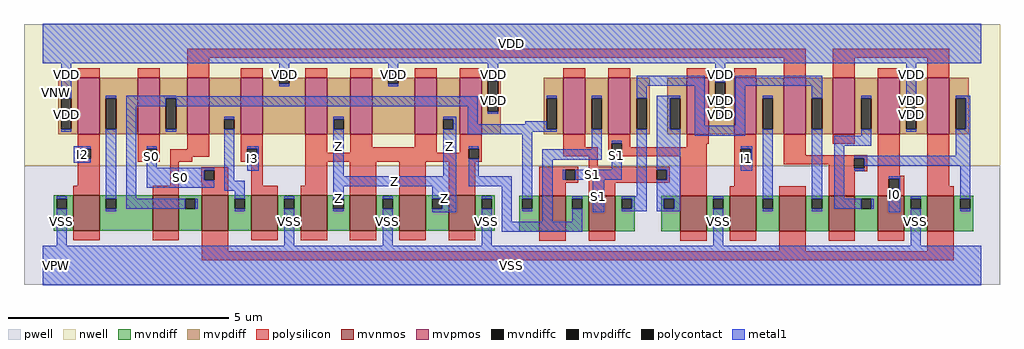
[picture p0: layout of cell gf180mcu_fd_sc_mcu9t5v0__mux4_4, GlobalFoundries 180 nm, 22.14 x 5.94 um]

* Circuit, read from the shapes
.subckt gf180mcu_fd_sc_mcu9t5v0__mux4_4 I0 I1 I2 I3 S0 S1 Z VDD VNW VPW VSS
XM1 n1 I2 VSS VPW nfet_06v0 w=0.8u l=0.6u
XM2 n2 n3 n1 VPW nfet_06v0 w=0.8u l=0.6u
XM3 n4 S0 n2 VPW nfet_06v0 w=0.8u l=0.6u
XM4 VSS I3 n4 VPW nfet_06v0 w=0.8u l=0.6u
XM5 Z n5 VSS VPW nfet_06v0 w=0.8u l=0.6u m=4
XM6 n5 S1 n2 VPW nfet_06v0 w=0.8u l=0.6u
XM7 n6 n7 n5 VPW nfet_06v0 w=0.8u l=0.6u
XM8 VSS S1 n7 VPW nfet_06v0 w=0.8u l=0.6u
XM9 n8 I1 VSS VPW nfet_06v0 w=0.8u l=0.6u
XM10 n6 S0 n8 VPW nfet_06v0 w=0.8u l=0.6u
XM11 n9 n3 n6 VPW nfet_06v0 w=0.8u l=0.6u
XM12 VSS I0 n9 VPW nfet_06v0 w=0.8u l=0.6u
XM13 n3 S0 VSS VPW nfet_06v0 w=0.8u l=0.6u
XM14 n1 I2 VDD VNW pfet_06v0 w=1.28u l=0.5u
XM15 n2 S0 n1 VNW pfet_06v0 w=1.28u l=0.5u
XM16 n4 n3 n2 VNW pfet_06v0 w=1.28u l=0.5u
XM17 VDD I3 n4 VNW pfet_06v0 w=1.28u l=0.5u
XM18 Z n5 VDD VNW pfet_06v0 w=1.28u l=0.5u m=4
XM19 n5 n7 n2 VNW pfet_06v0 w=1.28u l=0.5u
XM20 n6 S1 n5 VNW pfet_06v0 w=1.28u l=0.5u
XM21 VDD S1 n7 VNW pfet_06v0 w=1.28u l=0.5u
XM22 n8 I1 VDD VNW pfet_06v0 w=1.28u l=0.5u
XM23 n6 n3 n8 VNW pfet_06v0 w=1.28u l=0.5u
XM24 n9 S0 n6 VNW pfet_06v0 w=1.28u l=0.5u
XM25 VDD I0 n9 VNW pfet_06v0 w=1.28u l=0.5u
XM26 n3 S0 VDD VNW pfet_06v0 w=1.28u l=0.5u
.ends

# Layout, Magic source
magic
tech gf180mcuD
magscale 1 10
<< nwell >>
rect -86 453 4342 1094
<< pwell >>
rect -86 -86 4342 453
<< mvnmos >>
rect 137 159 257 319
rect 497 159 617 319
rect 721 159 841 319
rect 945 159 1065 319
rect 1169 159 1289 319
rect 1393 159 1513 319
rect 1617 159 1737 319
rect 1841 159 1961 319
rect 2252 156 2372 316
rect 2476 156 2596 316
rect 2892 156 3012 316
rect 3116 156 3236 316
rect 3340 156 3460 316
rect 3564 156 3684 316
rect 3788 156 3908 316
rect 4012 156 4132 316
<< mvpmos >>
rect 157 596 257 852
rect 429 596 529 852
rect 655 596 755 852
rect 898 596 998 852
rect 1190 596 1290 852
rect 1394 596 1494 852
rect 1686 596 1786 852
rect 1890 596 1990 852
rect 2360 596 2460 852
rect 2564 596 2664 852
rect 2920 596 3020 852
rect 3136 596 3236 852
rect 3360 596 3460 852
rect 3584 596 3684 852
rect 3788 596 3888 852
rect 4012 596 4112 852
<< mvndiff >>
rect 49 303 137 319
rect 49 257 62 303
rect 108 257 137 303
rect 49 159 137 257
rect 257 303 497 319
rect 257 257 286 303
rect 332 257 497 303
rect 257 159 497 257
rect 617 303 721 319
rect 617 257 646 303
rect 692 257 721 303
rect 617 159 721 257
rect 841 303 945 319
rect 841 257 870 303
rect 916 257 945 303
rect 841 159 945 257
rect 1065 303 1169 319
rect 1065 257 1094 303
rect 1140 257 1169 303
rect 1065 159 1169 257
rect 1289 303 1393 319
rect 1289 257 1318 303
rect 1364 257 1393 303
rect 1289 159 1393 257
rect 1513 303 1617 319
rect 1513 257 1542 303
rect 1588 257 1617 303
rect 1513 159 1617 257
rect 1737 303 1841 319
rect 1737 257 1766 303
rect 1812 257 1841 303
rect 1737 159 1841 257
rect 1961 303 2049 319
rect 1961 257 1990 303
rect 2036 257 2049 303
rect 1961 159 2049 257
rect 2161 303 2252 316
rect 2161 257 2174 303
rect 2220 257 2252 303
rect 2161 156 2252 257
rect 2372 303 2476 316
rect 2372 257 2401 303
rect 2447 257 2476 303
rect 2372 156 2476 257
rect 2596 303 2684 316
rect 2596 257 2625 303
rect 2671 257 2684 303
rect 2596 156 2684 257
rect 2804 303 2892 316
rect 2804 257 2817 303
rect 2863 257 2892 303
rect 2804 156 2892 257
rect 3012 303 3116 316
rect 3012 257 3041 303
rect 3087 257 3116 303
rect 3012 156 3116 257
rect 3236 303 3340 316
rect 3236 257 3265 303
rect 3311 257 3340 303
rect 3236 156 3340 257
rect 3460 303 3564 316
rect 3460 257 3489 303
rect 3535 257 3564 303
rect 3460 156 3564 257
rect 3684 303 3788 316
rect 3684 257 3713 303
rect 3759 257 3788 303
rect 3684 156 3788 257
rect 3908 303 4012 316
rect 3908 257 3937 303
rect 3983 257 4012 303
rect 3908 156 4012 257
rect 4132 303 4220 316
rect 4132 257 4161 303
rect 4207 257 4220 303
rect 4132 156 4220 257
<< mvpdiff >>
rect 1058 871 1130 884
rect 1058 852 1071 871
rect 69 759 157 852
rect 69 619 82 759
rect 128 619 157 759
rect 69 596 157 619
rect 257 759 429 852
rect 257 619 286 759
rect 332 619 429 759
rect 257 596 429 619
rect 529 759 655 852
rect 529 619 558 759
rect 604 619 655 759
rect 529 596 655 619
rect 755 665 898 852
rect 755 619 823 665
rect 869 619 898 665
rect 755 596 898 619
rect 998 825 1071 852
rect 1117 852 1130 871
rect 1554 871 1626 884
rect 1554 852 1567 871
rect 1117 825 1190 852
rect 998 596 1190 825
rect 1290 665 1394 852
rect 1290 619 1319 665
rect 1365 619 1394 665
rect 1290 596 1394 619
rect 1494 825 1567 852
rect 1613 852 1626 871
rect 1613 825 1686 852
rect 1494 596 1686 825
rect 1786 665 1890 852
rect 1786 619 1815 665
rect 1861 619 1890 665
rect 1786 596 1890 619
rect 1990 839 2078 852
rect 1990 699 2019 839
rect 2065 699 2078 839
rect 1990 596 2078 699
rect 2272 759 2360 852
rect 2272 619 2285 759
rect 2331 619 2360 759
rect 2272 596 2360 619
rect 2460 759 2564 852
rect 2460 619 2489 759
rect 2535 619 2564 759
rect 2460 596 2564 619
rect 2664 759 2752 852
rect 2664 619 2693 759
rect 2739 619 2752 759
rect 2664 596 2752 619
rect 2832 759 2920 852
rect 2832 619 2845 759
rect 2891 619 2920 759
rect 2832 596 2920 619
rect 3020 831 3136 852
rect 3020 691 3049 831
rect 3095 691 3136 831
rect 3020 596 3136 691
rect 3236 759 3360 852
rect 3236 619 3265 759
rect 3311 619 3360 759
rect 3236 596 3360 619
rect 3460 759 3584 852
rect 3460 619 3489 759
rect 3535 619 3584 759
rect 3460 596 3584 619
rect 3684 759 3788 852
rect 3684 619 3713 759
rect 3759 619 3788 759
rect 3684 596 3788 619
rect 3888 759 4012 852
rect 3888 619 3917 759
rect 3963 619 4012 759
rect 3888 596 4012 619
rect 4112 759 4200 852
rect 4112 619 4141 759
rect 4187 619 4200 759
rect 4112 596 4200 619
<< mvndiffc >>
rect 62 257 108 303
rect 286 257 332 303
rect 646 257 692 303
rect 870 257 916 303
rect 1094 257 1140 303
rect 1318 257 1364 303
rect 1542 257 1588 303
rect 1766 257 1812 303
rect 1990 257 2036 303
rect 2174 257 2220 303
rect 2401 257 2447 303
rect 2625 257 2671 303
rect 2817 257 2863 303
rect 3041 257 3087 303
rect 3265 257 3311 303
rect 3489 257 3535 303
rect 3713 257 3759 303
rect 3937 257 3983 303
rect 4161 257 4207 303
<< mvpdiffc >>
rect 82 619 128 759
rect 286 619 332 759
rect 558 619 604 759
rect 823 619 869 665
rect 1071 825 1117 871
rect 1319 619 1365 665
rect 1567 825 1613 871
rect 1815 619 1861 665
rect 2019 699 2065 839
rect 2285 619 2331 759
rect 2489 619 2535 759
rect 2693 619 2739 759
rect 2845 619 2891 759
rect 3049 691 3095 831
rect 3265 619 3311 759
rect 3489 619 3535 759
rect 3713 619 3759 759
rect 3917 619 3963 759
rect 4141 619 4187 759
<< polysilicon >>
rect 655 944 3460 984
rect 157 852 257 896
rect 429 852 529 896
rect 655 852 755 944
rect 898 852 998 896
rect 1190 852 1290 896
rect 1394 852 1494 896
rect 1686 852 1786 896
rect 1890 852 1990 896
rect 2360 852 2460 896
rect 2564 852 2664 896
rect 2920 852 3020 896
rect 3136 852 3236 896
rect 3360 852 3460 944
rect 3584 944 4112 984
rect 3584 852 3684 944
rect 3788 852 3888 896
rect 4012 852 4112 944
rect 157 531 257 596
rect 157 485 170 531
rect 216 485 257 531
rect 157 363 257 485
rect 429 531 529 596
rect 429 485 470 531
rect 516 485 529 531
rect 655 528 755 596
rect 429 472 529 485
rect 577 494 755 528
rect 898 531 998 596
rect 577 471 677 494
rect 898 485 926 531
rect 972 485 998 531
rect 898 472 998 485
rect 577 363 617 471
rect 718 433 841 446
rect 718 387 731 433
rect 777 387 841 433
rect 718 379 841 387
rect 137 319 257 363
rect 497 319 617 363
rect 721 319 841 379
rect 945 363 998 472
rect 1190 511 1290 596
rect 1394 536 1494 596
rect 1686 536 1786 596
rect 1394 511 1786 536
rect 1890 531 1990 596
rect 1890 511 1931 531
rect 1190 485 1931 511
rect 1977 485 1990 531
rect 2360 536 2460 596
rect 2564 555 2664 596
rect 2360 496 2516 536
rect 2564 509 2581 555
rect 2627 536 2664 555
rect 2920 552 3020 596
rect 2920 536 3012 552
rect 2627 509 3012 536
rect 2564 496 3012 509
rect 1190 472 1990 485
rect 1190 471 1961 472
rect 1190 363 1289 471
rect 945 319 1065 363
rect 1169 319 1289 363
rect 1393 319 1513 471
rect 1617 319 1737 471
rect 1841 319 1961 471
rect 2476 448 2516 496
rect 2252 435 2428 448
rect 2252 389 2369 435
rect 2415 389 2428 435
rect 2252 376 2428 389
rect 2476 435 2844 448
rect 2476 389 2785 435
rect 2831 389 2844 435
rect 2476 376 2844 389
rect 2252 316 2372 376
rect 2476 316 2596 376
rect 2892 316 3012 496
rect 3136 531 3236 596
rect 3136 485 3166 531
rect 3212 485 3236 531
rect 3136 360 3236 485
rect 3360 500 3460 596
rect 3584 552 3684 596
rect 3360 487 3740 500
rect 3360 460 3681 487
rect 3564 441 3681 460
rect 3727 441 3740 487
rect 3564 428 3740 441
rect 3116 316 3236 360
rect 3340 316 3460 360
rect 3564 316 3684 428
rect 3788 408 3888 596
rect 3788 395 3908 408
rect 3788 349 3838 395
rect 3884 349 3908 395
rect 3788 316 3908 349
rect 4012 360 4112 596
rect 4012 316 4132 360
rect 137 115 257 159
rect 497 115 617 159
rect 721 64 841 159
rect 945 115 1065 159
rect 1169 115 1289 159
rect 1393 115 1513 159
rect 1617 115 1737 159
rect 1841 115 1961 159
rect 2252 112 2372 156
rect 2476 112 2596 156
rect 2892 112 3012 156
rect 3116 112 3236 156
rect 3340 64 3460 156
rect 3564 112 3684 156
rect 3788 112 3908 156
rect 4012 64 4132 156
rect 721 24 4132 64
<< polycontact >>
rect 170 485 216 531
rect 470 485 516 531
rect 926 485 972 531
rect 731 387 777 433
rect 1931 485 1977 531
rect 2581 509 2627 555
rect 2369 389 2415 435
rect 2785 389 2831 435
rect 3166 485 3212 531
rect 3681 441 3727 487
rect 3838 349 3884 395
<< metal1 >>
rect 0 918 4256 1098
rect 82 759 128 918
rect 1071 871 1117 918
rect 1071 814 1117 825
rect 1567 871 1613 918
rect 1567 814 1613 825
rect 2019 839 2065 918
rect 82 608 128 619
rect 286 759 332 770
rect 140 531 216 542
rect 140 485 170 531
rect 140 466 216 485
rect 62 303 108 314
rect 62 90 108 257
rect 286 303 332 619
rect 378 768 604 770
rect 378 759 1973 768
rect 378 722 558 759
rect 378 303 424 722
rect 604 722 1973 759
rect 558 608 604 619
rect 823 665 869 676
rect 470 531 516 542
rect 470 444 516 485
rect 470 433 777 444
rect 470 387 731 433
rect 470 354 777 387
rect 823 385 869 619
rect 1318 665 1365 676
rect 1318 619 1319 665
rect 926 531 978 542
rect 972 485 978 531
rect 926 430 978 485
rect 1318 406 1365 619
rect 1815 665 1874 676
rect 1861 619 1874 665
rect 1815 406 1874 619
rect 1927 642 1973 722
rect 2693 816 3003 862
rect 2019 688 2065 699
rect 2285 759 2331 770
rect 2189 642 2285 654
rect 1927 619 2285 642
rect 1927 608 2331 619
rect 2489 759 2535 770
rect 1927 596 2220 608
rect 823 339 916 385
rect 870 303 916 339
rect 1318 360 1874 406
rect 1931 531 1977 542
rect 1931 406 1977 485
rect 1931 360 2128 406
rect 378 257 646 303
rect 692 257 703 303
rect 286 246 332 257
rect 870 246 916 257
rect 1094 303 1140 314
rect 1094 90 1140 257
rect 1318 303 1364 360
rect 1318 246 1364 257
rect 1542 303 1588 314
rect 1542 90 1588 257
rect 1766 303 1874 360
rect 1812 257 1874 303
rect 1766 242 1874 257
rect 1990 303 2036 314
rect 1990 90 2036 257
rect 2082 200 2128 360
rect 2174 303 2220 596
rect 2489 527 2535 619
rect 2693 759 2739 816
rect 2174 246 2220 257
rect 2266 481 2535 527
rect 2581 555 2627 566
rect 2266 200 2312 481
rect 2581 435 2627 509
rect 2358 389 2369 435
rect 2415 389 2627 435
rect 2401 303 2447 314
rect 2401 200 2447 257
rect 2494 242 2546 389
rect 2693 314 2739 619
rect 2625 303 2739 314
rect 2671 257 2739 303
rect 2625 246 2739 257
rect 2785 759 2891 770
rect 2785 619 2845 759
rect 2785 435 2891 619
rect 2957 634 3003 816
rect 3049 831 3095 918
rect 3049 680 3095 691
rect 3141 816 3535 862
rect 3141 634 3187 816
rect 2957 588 3187 634
rect 3265 759 3311 770
rect 2831 389 2891 435
rect 3166 531 3218 542
rect 3212 485 3218 531
rect 3166 430 3218 485
rect 2785 303 2891 389
rect 2785 257 2817 303
rect 2863 257 2891 303
rect 2785 246 2891 257
rect 3041 303 3087 314
rect 2082 154 2447 200
rect 3041 90 3087 257
rect 3265 303 3311 619
rect 3265 246 3311 257
rect 3489 759 3535 816
rect 3489 303 3535 619
rect 3713 759 3759 770
rect 3713 590 3759 619
rect 3917 759 3963 918
rect 3917 608 3963 619
rect 4141 759 4207 770
rect 4187 619 4207 759
rect 3589 544 3759 590
rect 3589 303 3635 544
rect 4141 498 4207 619
rect 3681 487 4207 498
rect 3727 452 4207 487
rect 3681 430 3727 441
rect 3838 395 3890 406
rect 3884 349 3890 395
rect 3589 257 3713 303
rect 3759 257 3770 303
rect 3489 246 3535 257
rect 3838 242 3890 349
rect 3937 303 3983 314
rect 3937 90 3983 257
rect 4161 303 4207 452
rect 4161 246 4207 257
rect 0 -90 4256 90
<< labels >>
flabel metal1 s 3838 242 3890 406 0 FreeSans 200 0 0 0 I0
port 1 nsew default input
flabel metal1 s 3166 430 3218 542 0 FreeSans 200 0 0 0 I1
port 2 nsew default input
flabel metal1 s 140 466 216 542 0 FreeSans 200 0 0 0 I2
port 3 nsew default input
flabel metal1 s 926 430 978 542 0 FreeSans 200 0 0 0 I3
port 4 nsew default input
flabel metal1 s 470 444 516 542 0 FreeSans 200 0 0 0 S0
port 5 nsew default input
flabel metal1 s 2581 435 2627 566 0 FreeSans 200 0 0 0 S1
port 6 nsew default input
flabel metal1 s 0 918 4256 1098 0 FreeSans 200 0 0 0 VDD
port 8 nsew power bidirectional abutment
flabel metal1 s 3937 90 3983 314 0 FreeSans 200 0 0 0 VSS
port 11 nsew ground bidirectional abutment
flabel metal1 s 1815 406 1874 676 0 FreeSans 200 0 0 0 Z
port 7 nsew default output
flabel nwell s 10 734 110 834 0 FreeSans 400 0 0 0 VNW
port 9 nsew power bidirectional
flabel pwell s 10 -50 110 50 0 FreeSans 400 0 0 0 VPW
port 10 nsew ground bidirectional
rlabel metal1 s 470 354 777 444 1 S0
port 5 nsew default input
rlabel metal1 s 2358 389 2627 435 1 S1
port 6 nsew default input
rlabel metal1 s 2494 242 2546 389 1 S1
port 6 nsew default input
rlabel metal1 s 1318 406 1365 676 1 Z
port 7 nsew default output
rlabel metal1 s 1318 360 1874 406 1 Z
port 7 nsew default output
rlabel metal1 s 1766 246 1874 360 1 Z
port 7 nsew default output
rlabel metal1 s 1318 246 1364 360 1 Z
port 7 nsew default output
rlabel metal1 s 1766 242 1874 246 1 Z
port 7 nsew default output
rlabel metal1 s 3917 814 3963 918 1 VDD
port 8 nsew power bidirectional abutment
rlabel metal1 s 3049 814 3095 918 1 VDD
port 8 nsew power bidirectional abutment
rlabel metal1 s 2019 814 2065 918 1 VDD
port 8 nsew power bidirectional abutment
rlabel metal1 s 1567 814 1613 918 1 VDD
port 8 nsew power bidirectional abutment
rlabel metal1 s 1071 814 1117 918 1 VDD
port 8 nsew power bidirectional abutment
rlabel metal1 s 82 814 128 918 1 VDD
port 8 nsew power bidirectional abutment
rlabel metal1 s 3917 688 3963 814 1 VDD
port 8 nsew power bidirectional abutment
rlabel metal1 s 3049 688 3095 814 1 VDD
port 8 nsew power bidirectional abutment
rlabel metal1 s 2019 688 2065 814 1 VDD
port 8 nsew power bidirectional abutment
rlabel metal1 s 82 688 128 814 1 VDD
port 8 nsew power bidirectional abutment
rlabel metal1 s 3917 680 3963 688 1 VDD
port 8 nsew power bidirectional abutment
rlabel metal1 s 3049 680 3095 688 1 VDD
port 8 nsew power bidirectional abutment
rlabel metal1 s 82 680 128 688 1 VDD
port 8 nsew power bidirectional abutment
rlabel metal1 s 3917 608 3963 680 1 VDD
port 8 nsew power bidirectional abutment
rlabel metal1 s 82 608 128 680 1 VDD
port 8 nsew power bidirectional abutment
rlabel metal1 s 3041 90 3087 314 1 VSS
port 11 nsew ground bidirectional abutment
rlabel metal1 s 1990 90 2036 314 1 VSS
port 11 nsew ground bidirectional abutment
rlabel metal1 s 1542 90 1588 314 1 VSS
port 11 nsew ground bidirectional abutment
rlabel metal1 s 1094 90 1140 314 1 VSS
port 11 nsew ground bidirectional abutment
rlabel metal1 s 62 90 108 314 1 VSS
port 11 nsew ground bidirectional abutment
rlabel metal1 s 0 -90 4256 90 1 VSS
port 11 nsew ground bidirectional abutment
<< properties >>
string FIXED_BBOX 0 0 4256 1008
string GDS_END 33272
string GDS_FILE $PDKPATH/libs.ref/gf180mcu_fd_sc_mcu9t5v0/gds/gf180mcu_fd_sc_mcu9t5v0.gds
string GDS_START 23692
string LEFclass core
string LEFsite GF018hv5v_green_sc9
string LEFsymmetry X Y
<< end >>
